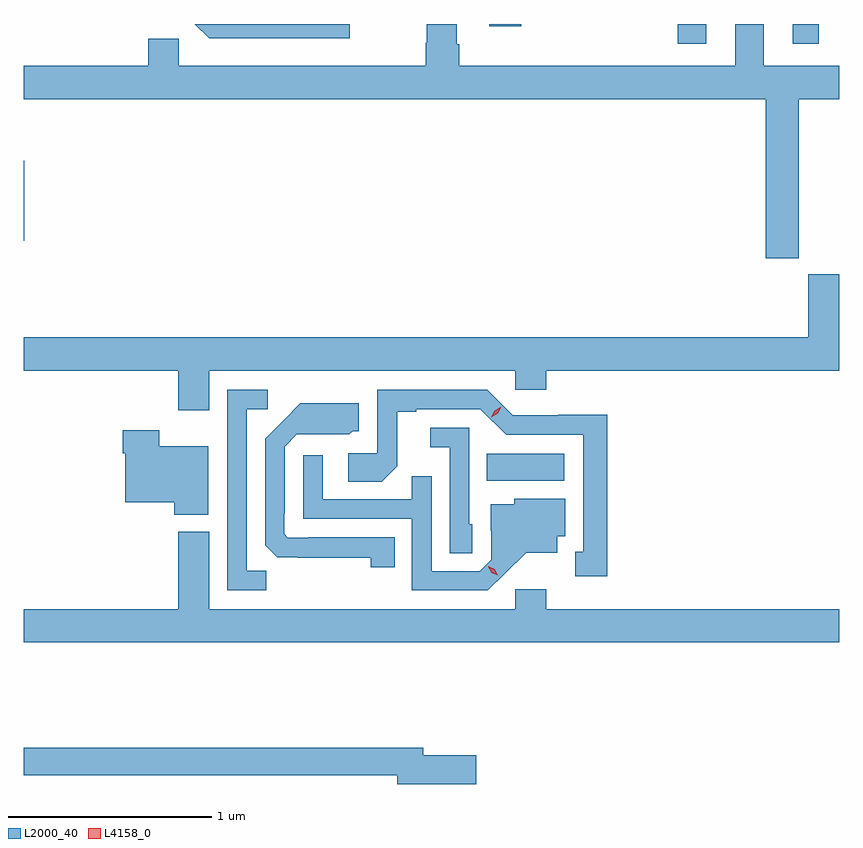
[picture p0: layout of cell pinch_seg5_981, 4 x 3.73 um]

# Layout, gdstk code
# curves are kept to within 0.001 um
import gdstk
lib = gdstk.Library(unit=1e-6, precision=1e-09)
def R(c, l, rs):  # rectangles x0, y0, x1, y1
    for r in rs: c.add(gdstk.rectangle(r[:2], r[2:], *l))
def P(c, l, *ps):  # polygons
    for p in ps: c.add(gdstk.Polygon(p, *l))
L2000_40 = (2000, 40)
L4158_0 = (4158, 0)

pinch_seg5_981 = lib.new_cell('pinch_seg5_981')
R(pinch_seg5_981, L2000_40, [(734.548,874.868,734.929,875.002), (732.277,876.045,732.281,876.439), (735.485,877.011,735.625,877.109), (736.049,877.011,736.177,877.109), (734.561,877.098,734.717,877.109)])
P(pinch_seg5_981, L2000_40, [(733.876,877.109),(733.117,877.109),(733.186,877.04),(733.876,877.04)],
  [(736.077,876.74),(736.277,876.74),(736.277,876.904),(735.907,876.904),(735.907,877.109),(735.767,877.109),(735.767,876.904),(734.414,876.904),(734.414,877.01),(734.401,877.01),(734.401,877.109),(734.254,877.109),(734.254,877.017),(734.249,877.017),(734.249,876.904),(733.038,876.904),(733.038,877.036),(732.887,877.036),(732.887,876.904),(732.277,876.904),(732.277,876.74),(735.917,876.74),(735.917,875.961),(736.077,875.961)],
  [(733.186,875.408),(734.688,875.408),(734.688,875.315),(734.84,875.315),(734.84,875.408),(736.277,875.408),(736.277,875.881),(736.124,875.881),(736.124,875.572),(732.277,875.572),(732.277,875.408),(733.034,875.408),(733.034,875.214),(733.186,875.214)],
  [(735.139,875.192),(734.898,875.192),(734.898,875.19),(734.676,875.19),(734.55,875.316),(734.01,875.316),(734.01,875.004),(733.869,875.004),(733.869,874.864),(734.033,874.864),(734.109,874.94),(734.109,875.208),(734.203,875.208),(734.203,875.22),(734.517,875.22),(734.643,875.094),(735.02,875.094),(735.02,874.521),(734.981,874.521),(734.981,874.401),(735.139,874.401)],
  [(733.467,874.427),(733.371,874.427),(733.371,875.22),(733.474,875.22),(733.474,875.316),(733.275,875.316),(733.275,874.332),(733.467,874.332)],
  [(734.096,874.593),(733.672,874.593),(733.672,874.59),(733.572,874.59),(733.554,874.608),(733.554,874.708),(733.557,874.708),(733.557,875.037),(733.617,875.097),(733.874,875.096),(733.89,875.112),(733.921,875.112),(733.921,875.248),(733.633,875.248),(733.461,875.074),(733.461,874.552),(733.52,874.493),(733.978,874.492),(733.978,874.446),(734.096,874.446)],
  [(734.478,874.656),(734.463,874.656),(734.463,875.13),(734.271,875.13),(734.271,875.033),(734.367,875.033),(734.367,874.513),(734.478,874.513)],
  [(733.183,875.038),(732.942,875.038),(732.942,875.116),(732.764,875.116),(732.764,875.003),(732.776,875.003),(732.776,874.763),(733.016,874.763),(733.016,874.703),(733.183,874.703)],
  [(734.638,874.415),(734.741,874.517),(734.893,874.517),(734.893,874.596),(734.932,874.596),(734.932,874.78),(734.682,874.78),(734.682,874.753),(734.567,874.753),(734.567,874.624),(734.571,874.624),(734.571,874.482),(734.514,874.425),(734.277,874.425),(734.277,874.892),(734.179,874.892),(734.179,874.779),(733.743,874.779),(733.743,874.993),(733.647,874.993),(733.647,874.683),(734.181,874.683),(734.181,874.332),(734.554,874.332)],
  [(736.277,874.24),(734.84,874.24),(734.84,874.336),(734.688,874.336),(734.688,874.24),(733.186,874.24),(733.186,874.618),(733.034,874.618),(733.034,874.24),(732.277,874.24),(732.277,874.076),(736.277,874.076)],
  [(734.497,873.524),(734.236,873.524),(734.236,873.56),(732.277,873.56),(732.277,873.424),(734.108,873.424),(734.108,873.382),(734.497,873.382)])
P(pinch_seg5_981, L4158_0, [(734.57,875.18),(734.57,875.18),(734.588,875.213),(734.62,875.231),(734.62,875.231),(734.62,875.231),(734.602,875.199),(734.57,875.18)],
  [(734.603,874.405),(734.572,874.419),(734.555,874.448),(734.555,874.449),(734.555,874.449),(734.586,874.434),(734.603,874.405),(734.603,874.405)])

lib.write_gds('pinch_seg5_981.gds')
